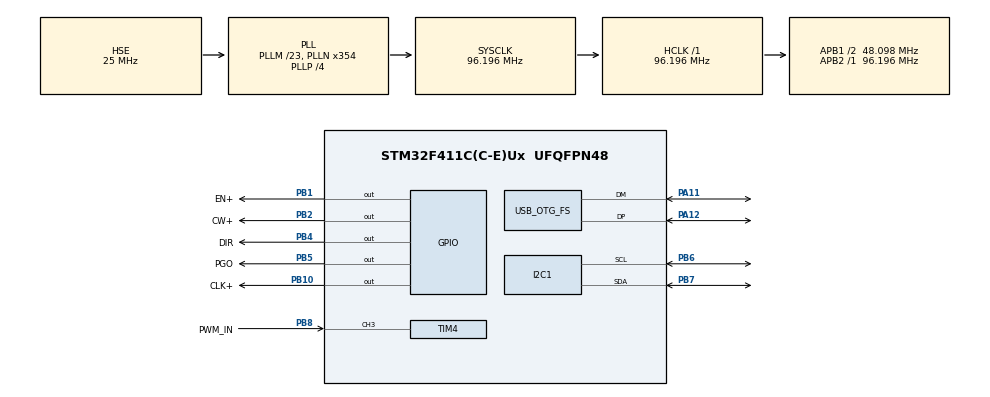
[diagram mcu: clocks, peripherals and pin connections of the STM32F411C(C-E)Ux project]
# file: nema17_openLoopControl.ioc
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Mcu.Family=STM32F4
Mcu.Name=STM32F411C(C-E)Ux
Mcu.Package=UFQFPN48
NVIC.OTG_FS_IRQn=true\:0\:0\:false\:false\:true\:false\:true\:true
NVIC.PriorityGroup=NVIC_PRIORITYGROUP_4
PA11.Mode=Device_Only
PA11.Signal=USB_OTG_FS_DM
PA12.Mode=Device_Only
PA12.Signal=USB_OTG_FS_DP
PA13.Mode=Trace_Asynchronous_SW
PA13.Signal=SYS_JTMS-SWDIO
PA14.Mode=Trace_Asynchronous_SW
PA14.Signal=SYS_JTCK-SWCLK
PB1.GPIO_Label=EN+
PB1.GPIO_PuPd=GPIO_PULLDOWN
PB1.Signal=GPIO_Output
PB10.GPIO_Label=CLK+
PB10.GPIO_PuPd=GPIO_PULLDOWN
PB10.GPIO_Speed=GPIO_SPEED_FREQ_VERY_HIGH
PB10.Signal=GPIO_Output
PB2.GPIO_Label=CW+
PB2.GPIO_PuPd=GPIO_PULLDOWN
PB2.Signal=GPIO_Output
PB3.Mode=Trace_Asynchronous_SW
PB3.Signal=SYS_JTDO-SWO
PB4.GPIO_Label=DIR
PB4.GPIO_PuPd=GPIO_PULLDOWN
PB4.Signal=GPIO_Output
PB5.GPIO_Label=PGO
PB5.GPIO_PuPd=GPIO_PULLDOWN
PB5.Signal=GPIO_Output
PB6.Mode=I2C
PB6.Signal=I2C1_SCL
PB7.Mode=I2C
PB7.Signal=I2C1_SDA
PB8.GPIO_Label=PWM_IN
PB8.Signal=S_TIM4_CH3
PH0\ -\ OSC_IN.Mode=HSE-External-Oscillator
PH0\ -\ OSC_IN.Signal=RCC_OSC_IN
PH1\ -\ OSC_OUT.Mode=HSE-External-Oscillator
PH1\ -\ OSC_OUT.Signal=RCC_OSC_OUT
ProjectManager.HeapSize=0x200
ProjectManager.StackSize=0x400
ProjectManager.TargetToolchain=STM32CubeIDE
RCC.48MHZClocksFreq_Value=48097826.086956516
RCC.AHBFreq_Value=96195652.17391303
RCC.APB1CLKDivider=RCC_HCLK_DIV2
RCC.APB1Freq_Value=48097826.086956516
RCC.APB1TimFreq_Value=96195652.17391303
RCC.APB2Freq_Value=96195652.17391303
RCC.APB2TimFreq_Value=96195652.17391303
RCC.CortexFreq_Value=96195652.17391303
RCC.HCLKFreq_Value=96195652.17391303
RCC.HSE_VALUE=25000000
RCC.HSI_VALUE=16000000
RCC.LSE_VALUE=32768
RCC.PLLM=23
RCC.PLLN=354
RCC.PLLP=RCC_PLLP_DIV4
RCC.PLLQ=8
RCC.RCC_RTC_Clock_Source=RCC_RTCCLKSOURCE_LSI
RCC.RCC_RTC_Clock_SourceVirtual=RCC_RTCCLKSOURCE_LSI
RCC.SYSCLKFreq_VALUE=96195652.17391303
RCC.SYSCLKSource=RCC_SYSCLKSOURCE_PLLCLK
RCC.VCOOutputFreq_Value=384782608.6956521
SH.S_TIM4_CH3.0=TIM4_CH3,Input_Capture3_from_TI3
TIM4.Channel-Input_Capture3_from_TI3=TIM_CHANNEL_3
TIM4.Period=52280-1
TIM4.Prescaler=2-1
USB_DEVICE.CLASS_NAME_FS=CDC
USB_DEVICE.VirtualMode=Cdc
USB_DEVICE.VirtualModeFS=Cdc_FS
USB_OTG_FS.VirtualMode=Device_Only
VP_TIM4_VS_ClockSourceINT.Mode=Internal
VP_USB_DEVICE_VS_USB_DEVICE_CDC_FS.Mode=CDC_FS
board=custom

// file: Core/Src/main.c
/* USER CODE BEGIN Header */
/**
  ******************************************************************************
  * @file           : main.c
  * @brief          : Main program body
  ******************************************************************************
  * @attention
  *
  * Copyright (c) 2025 STMicroelectronics.
  * All rights reserved.
  *
  * This software is licensed under terms that can be found in the LICENSE file
  * in the root directory of this software component.
  * If no LICENSE file comes with this software, it is provided AS-IS.
  *
  ******************************************************************************
  */
/* USER CODE END Header */
#include "main.h"
#include "usb_device.h"
#include "usbd_cdc_if.h"

/* USER CODE BEGIN PTD */
struct encoder{
	uint8_t supported_ic;
	uint16_t address;
};typedef struct encoder encoder;
struct stepperMtr{
	uint8_t en_pin;
	uint8_t cw_pin;
	uint8_t ck_pin;
	uint32_t speed_setPoint;
	uint32_t pos_setPoint;
	uint32_t pos_openLoop;
	uint32_t pos_sampled;
	uint8_t dir;
	encoder sensor;
};typedef struct stepperMtr stpMtr;
/* USER CODE END PTD */

I2C_HandleTypeDef hi2c1;

TIM_HandleTypeDef htim4;

/* USER CODE BEGIN PV */
stpMtr stpMtr_1;
char txBuf[15];
/* USER CODE END PV */

void SystemClock_Config(void);
static void MX_GPIO_Init(void);
static void MX_I2C1_Init(void);
static void MX_TIM4_Init(void);

/* USER CODE BEGIN 0 */
void stepper_setSpeed(uint32_t speed, uint8_t isStop){

}

void report(){
	sprintf(txBuf,"%lu\r\n",stpMtr_1.pos_openLoop);
	CDC_Transmit_FS((uint8_t*)txBuf,strlen(txBuf));
}

void as5600_i2c_sample(){
	HAL_I2C_Master_Transmit(&hi2c1, stpMtr_1.sensor.address, (uint8_t*)txBuf, sizeof(txBuf), 1000);
}
/* USER CODE END 0 */

int main(void)
{

  /* MCU Configuration--------------------------------------------------------*/

  /* Reset of all peripherals, Initializes the Flash interface and the Systick. */
  HAL_Init();

  /* Configure the system clock */
  SystemClock_Config();

  /* Initialize all configured peripherals */
  MX_GPIO_Init();
  MX_I2C1_Init();
  MX_TIM4_Init();
  MX_USB_DEVICE_Init();
  /* USER CODE BEGIN 2 */
  HAL_TIM_PWM_Start(&htim4, TIM_CHANNEL_3);
  HAL_TIM_PWM_Stop(&htim4, TIM_CHANNEL_3);
  /* USER CODE END 2 */

  /* Infinite loop */
  while (1)
  {

  }
}

void SystemClock_Config(void)
{
  RCC_OscInitTypeDef RCC_OscInitStruct = {0};
  RCC_ClkInitTypeDef RCC_ClkInitStruct = {0};

  /** Configure the main internal regulator output voltage
  */
  __HAL_RCC_PWR_CLK_ENABLE();
  __HAL_PWR_VOLTAGESCALING_CONFIG(PWR_REGULATOR_VOLTAGE_SCALE1);

  /** Initializes the RCC Oscillators according to the specified parameters
  * in the RCC_OscInitTypeDef structure.
  */
  RCC_OscInitStruct.OscillatorType = RCC_OSCILLATORTYPE_HSE;
  RCC_OscInitStruct.HSEState = RCC_HSE_ON;
  RCC_OscInitStruct.PLL.PLLState = RCC_PLL_ON;
  RCC_OscInitStruct.PLL.PLLSource = RCC_PLLSOURCE_HSE;
  RCC_OscInitStruct.PLL.PLLM = 23;
  RCC_OscInitStruct.PLL.PLLN = 354;
  RCC_OscInitStruct.PLL.PLLP = RCC_PLLP_DIV4;
  RCC_OscInitStruct.PLL.PLLQ = 8;
  if (HAL_RCC_OscConfig(&RCC_OscInitStruct) != HAL_OK)
  {
    Error_Handler();
  }

  /** Initializes the CPU, AHB and APB buses clocks
  */
  RCC_ClkInitStruct.ClockType = RCC_CLOCKTYPE_HCLK|RCC_CLOCKTYPE_SYSCLK
                              |RCC_CLOCKTYPE_PCLK1|RCC_CLOCKTYPE_PCLK2;
  RCC_ClkInitStruct.SYSCLKSource = RCC_SYSCLKSOURCE_PLLCLK;
  RCC_ClkInitStruct.AHBCLKDivider = RCC_SYSCLK_DIV1;
  RCC_ClkInitStruct.APB1CLKDivider = RCC_HCLK_DIV2;
  RCC_ClkInitStruct.APB2CLKDivider = RCC_HCLK_DIV1;

  if (HAL_RCC_ClockConfig(&RCC_ClkInitStruct, FLASH_LATENCY_3) != HAL_OK)
  {
    Error_Handler();
  }
}

static void MX_I2C1_Init(void)
{

  hi2c1.Instance = I2C1;
  hi2c1.Init.ClockSpeed = 100000;
  hi2c1.Init.DutyCycle = I2C_DUTYCYCLE_2;
  hi2c1.Init.OwnAddress1 = 0;
  hi2c1.Init.AddressingMode = I2C_ADDRESSINGMODE_7BIT;
  hi2c1.Init.DualAddressMode = I2C_DUALADDRESS_DISABLE;
  hi2c1.Init.OwnAddress2 = 0;
  hi2c1.Init.GeneralCallMode = I2C_GENERALCALL_DISABLE;
  hi2c1.Init.NoStretchMode = I2C_NOSTRETCH_DISABLE;
  if (HAL_I2C_Init(&hi2c1) != HAL_OK)
  {
    Error_Handler();
  }

}

static void MX_TIM4_Init(void)
{

  TIM_ClockConfigTypeDef sClockSourceConfig = {0};
  TIM_MasterConfigTypeDef sMasterConfig = {0};
  TIM_IC_InitTypeDef sConfigIC = {0};

  htim4.Instance = TIM4;
  htim4.Init.Prescaler = 2-1;
  htim4.Init.CounterMode = TIM_COUNTERMODE_UP;
  htim4.Init.Period = 52280-1;
  htim4.Init.ClockDivision = TIM_CLOCKDIVISION_DIV1;
  htim4.Init.AutoReloadPreload = TIM_AUTORELOAD_PRELOAD_DISABLE;
  if (HAL_TIM_Base_Init(&htim4) != HAL_OK)
  {
    Error_Handler();
  }
  sClockSourceConfig.ClockSource = TIM_CLOCKSOURCE_INTERNAL;
  if (HAL_TIM_ConfigClockSource(&htim4, &sClockSourceConfig) != HAL_OK)
  {
    Error_Handler();
  }
  if (HAL_TIM_IC_Init(&htim4) != HAL_OK)
  {
    Error_Handler();
  }
  sMasterConfig.MasterOutputTrigger = TIM_TRGO_RESET;
  sMasterConfig.MasterSlaveMode = TIM_MASTERSLAVEMODE_DISABLE;
  if (HAL_TIMEx_MasterConfigSynchronization(&htim4, &sMasterConfig) != HAL_OK)
  {
    Error_Handler();
  }
  sConfigIC.ICPolarity = TIM_INPUTCHANNELPOLARITY_RISING;
  sConfigIC.ICSelection = TIM_ICSELECTION_DIRECTTI;
  sConfigIC.ICPrescaler = TIM_ICPSC_DIV1;
  sConfigIC.ICFilter = 0;
  if (HAL_TIM_IC_ConfigChannel(&htim4, &sConfigIC, TIM_CHANNEL_3) != HAL_OK)
  {
    Error_Handler();
  }

}

static void MX_GPIO_Init(void)
{
  GPIO_InitTypeDef GPIO_InitStruct = {0};

  /* GPIO Ports Clock Enable */
  __HAL_RCC_GPIOH_CLK_ENABLE();
  __HAL_RCC_GPIOB_CLK_ENABLE();
  __HAL_RCC_GPIOA_CLK_ENABLE();

  /*Configure GPIO pin Output Level */
  HAL_GPIO_WritePin(GPIOB, EN__Pin|CW__Pin|CLK__Pin|DIR_Pin
                          |PGO_Pin, GPIO_PIN_RESET);

  /*Configure GPIO pins : EN__Pin CW__Pin DIR_Pin PGO_Pin */
  GPIO_InitStruct.Pin = EN__Pin|CW__Pin|DIR_Pin|PGO_Pin;
  GPIO_InitStruct.Mode = GPIO_MODE_OUTPUT_PP;
  GPIO_InitStruct.Pull = GPIO_PULLDOWN;
  GPIO_InitStruct.Speed = GPIO_SPEED_FREQ_LOW;
  HAL_GPIO_Init(GPIOB, &GPIO_InitStruct);

  /*Configure GPIO pin : CLK__Pin */
  GPIO_InitStruct.Pin = CLK__Pin;
  GPIO_InitStruct.Mode = GPIO_MODE_OUTPUT_PP;
  GPIO_InitStruct.Pull = GPIO_PULLDOWN;
  GPIO_InitStruct.Speed = GPIO_SPEED_FREQ_VERY_HIGH;
  HAL_GPIO_Init(CLK__GPIO_Port, &GPIO_InitStruct);

}

void Error_Handler(void)
{
  __disable_irq();
  while (1)
  {
  }
}
